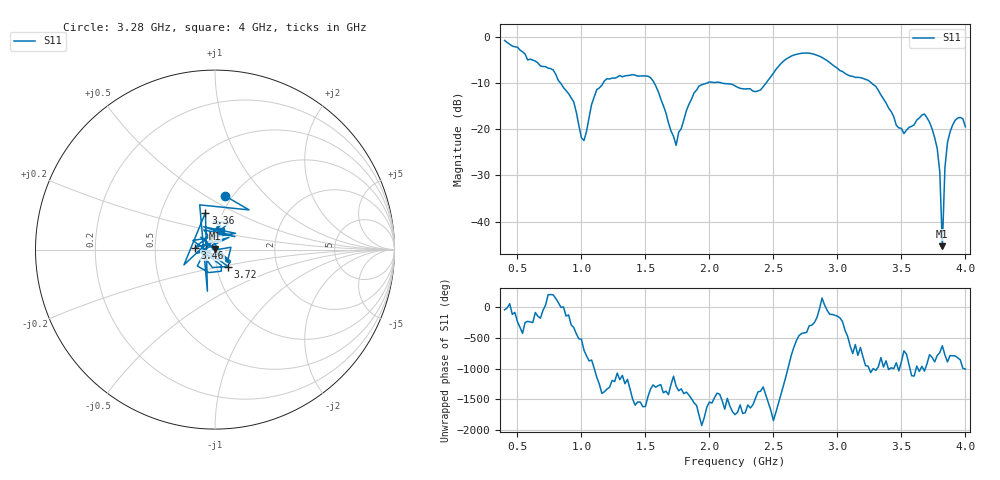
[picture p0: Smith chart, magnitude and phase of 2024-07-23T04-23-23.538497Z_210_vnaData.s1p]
!Created with skrf (http://scikit-rf.org).
# Hz S RI R 50.0
!freq ReS11 ImS11
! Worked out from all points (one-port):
!   181 points, 400 MHz to 4 GHz, reference 50 ohm
!   lowest |S11| = -45.3 dB at 3.82 GHz (marker M1), VSWR 1.01, Z = 50 + j0.543 ohm
!   |S11| at or under -10 dB: 1.569 GHz to 1.982 GHz (413.1 MHz wide, 23.3 % of centre); 2.098 GHz to 2.443 GHz (345.4 MHz wide, 15.2 % of centre); 3.268 GHz to end of sweep (the widest 3 of 4)
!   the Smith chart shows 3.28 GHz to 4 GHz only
!   S11 on the Smith chart (normalised r, x): 3.28 GHz: 0.92, +0.61; 3.36 GHz: 0.83, +0.36; 3.46 GHz: 0.80, +0.02; 3.72 GHz: 1.13, -0.22; 4 GHz: 1.05, +0.21
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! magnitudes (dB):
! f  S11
! 400 MHz  -0.8
! 780 MHz  -7.2
! 860 MHz  -11.0
! 940 MHz  -14.1
! 1.02 GHz  -22.4
! 1.12 GHz  -11.4
! 1.3 GHz  -8.3
! 1.54 GHz  -8.8
! 1.74 GHz  -23.5
! 1.76 GHz  -20.7
! 1.92 GHz  -10.6
! 2.2 GHz  -10.6
! 2.4 GHz  -11.5
! 2.66 GHz  -3.9
! 3.1 GHz  -8.5
! 3.28 GHz  -10.3
! 3.36 GHz  -13.4
! 3.46 GHz  -19.1
! 3.56 GHz  -19.6
! 3.68 GHz  -16.7
! 3.72 GHz  -18.5
! 3.78 GHz  -24.2
! 3.8 GHz  -29.2
! 3.82 GHz  -45.3
! 3.84 GHz  -28.4
! 3.86 GHz  -22.9
! 3.92 GHz  -18.1
! 4 GHz  -19.5
